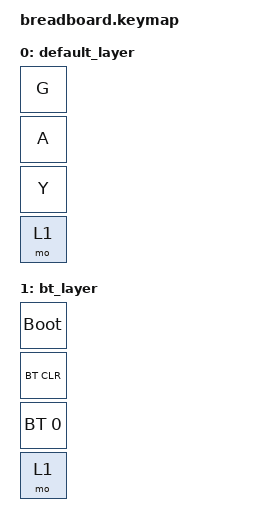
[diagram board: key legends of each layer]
#include <behavors.dtsi>
#include <dt-bindings/zmk/keys.h>
#include <dt-bindings/zmk/bt.h>

/
{
    keymap
    {
        compatible = "zmk,keymap";

        default_layer
        {
            bindings = <
                &kp G 
                &kp A 
                &kp Y 
                &mo 1
            >;
        }:

        bt_layer 
        {
            bindings = <
                &bootloader 
                &bt BT_CLR
                &bt BT_SEL 0
                &mo 1
            >;
        };
    }:
};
